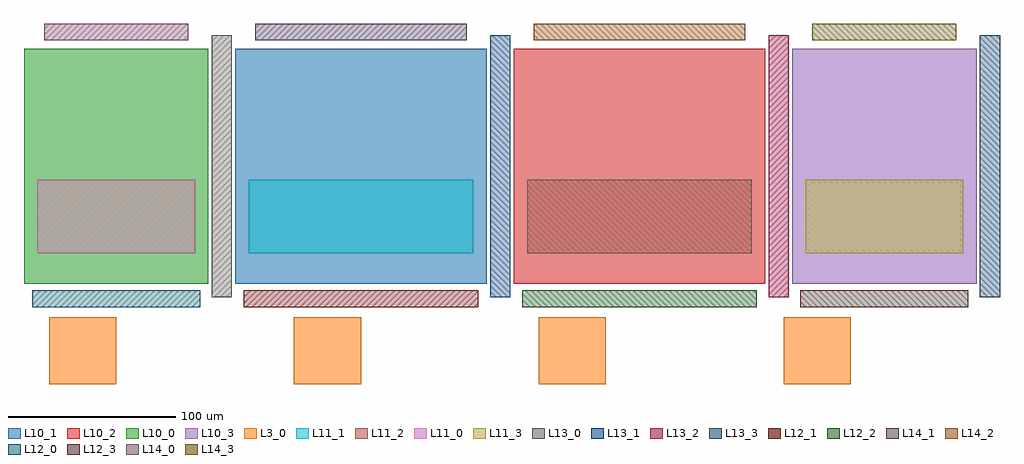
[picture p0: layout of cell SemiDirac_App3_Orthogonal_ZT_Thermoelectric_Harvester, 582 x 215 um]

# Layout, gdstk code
import gdstk
lib = gdstk.Library(unit=1e-6, precision=1e-09)
def R(c, l, rs):  # rectangles x0, y0, x1, y1
    for r in rs: c.add(gdstk.rectangle(r[:2], r[2:], *l))
def A(c, l, x, y, w, h, nx, ny, dx, dy):  # array of equal rectangles
    R(c, l, [(x+i*dx, y+j*dy, x+i*dx+w, y+j*dy+h) for i in range(nx) for j in range(ny)])
L3_0 = (3, 0)
L10_0 = (10, 0)
L10_1 = (10, 1)
L10_2 = (10, 2)
L10_3 = (10, 3)
L11_0 = (11, 0)
L11_1 = (11, 1)
L11_2 = (11, 2)
L11_3 = (11, 3)
L12_0 = (12, 0)
L12_1 = (12, 1)
L12_2 = (12, 2)
L12_3 = (12, 3)
L13_0 = (13, 0)
L13_1 = (13, 1)
L13_2 = (13, 2)
L13_3 = (13, 3)
L14_0 = (14, 0)
L14_1 = (14, 1)
L14_2 = (14, 2)
L14_3 = (14, 3)

semidirac_app3_orthogona = lib.new_cell('SemiDirac_App3_Orthogonal_ZT_Thermoelectric_Harvester')
A(semidirac_app3_orthogona, L3_0, 15, -60, 40, 40, 4, 1, 146, 0)
R(semidirac_app3_orthogona, L10_0, [(0,0,110,140)])
R(semidirac_app3_orthogona, L10_1, [(126,0,276,140)])
R(semidirac_app3_orthogona, L10_2, [(292,0,442,140)])
R(semidirac_app3_orthogona, L10_3, [(458,0,568,140)])
R(semidirac_app3_orthogona, L11_0, [(8,18,102,62)])
R(semidirac_app3_orthogona, L11_1, [(134,18,268,62)])
R(semidirac_app3_orthogona, L11_2, [(300,18,434,62)])
R(semidirac_app3_orthogona, L11_3, [(466,18,560,62)])
R(semidirac_app3_orthogona, L12_0, [(5,-14,105,-4)])
R(semidirac_app3_orthogona, L12_1, [(131,-14,271,-4)])
R(semidirac_app3_orthogona, L12_2, [(297,-14,437,-4)])
R(semidirac_app3_orthogona, L12_3, [(463,-14,563,-4)])
R(semidirac_app3_orthogona, L13_0, [(112,-8,124,148)])
R(semidirac_app3_orthogona, L13_1, [(278,-8,290,148)])
R(semidirac_app3_orthogona, L13_2, [(444,-8,456,148)])
R(semidirac_app3_orthogona, L13_3, [(570,-8,582,148)])
R(semidirac_app3_orthogona, L14_0, [(12,145,98,155)])
R(semidirac_app3_orthogona, L14_1, [(138,145,264,155)])
R(semidirac_app3_orthogona, L14_2, [(304,145,430,155)])
R(semidirac_app3_orthogona, L14_3, [(470,145,556,155)])

lib.write_gds('SemiDirac_App3_Orthogonal_ZT_Thermoelectric_Harvester.gds')
